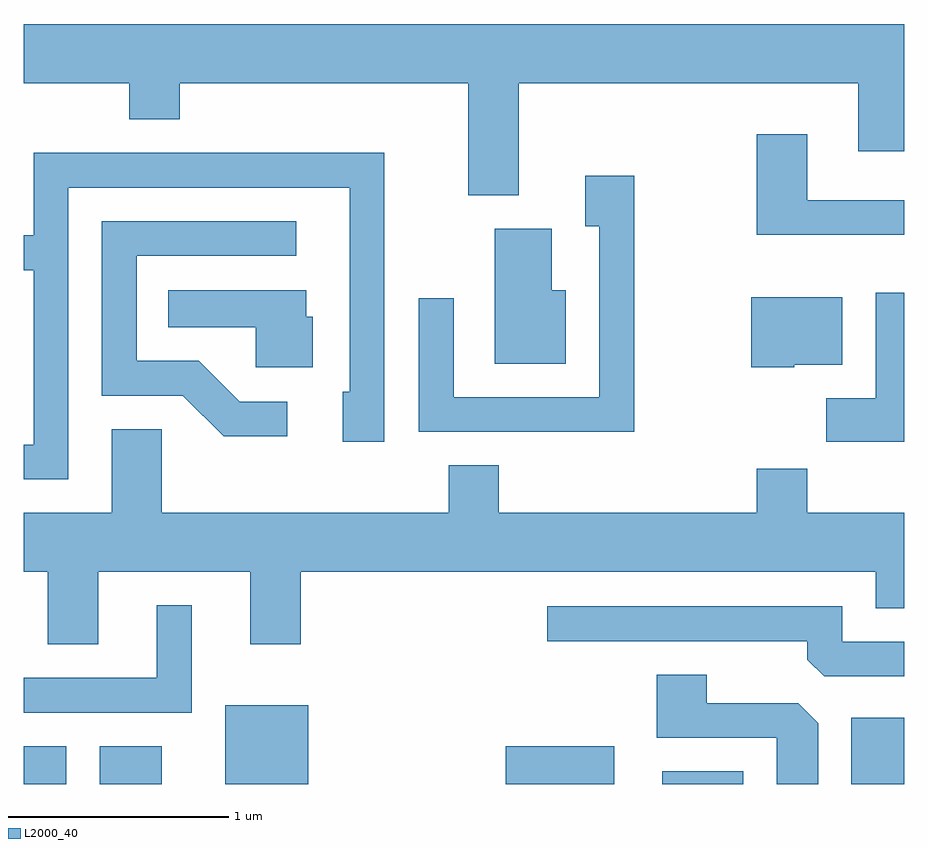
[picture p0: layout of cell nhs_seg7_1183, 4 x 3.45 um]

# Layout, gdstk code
import gdstk
lib = gdstk.Library(unit=1e-6, precision=1e-09)
def R(c, l, rs):  # rectangles x0, y0, x1, y1
    for r in rs: c.add(gdstk.rectangle(r[:2], r[2:], *l))
def P(c, l, *ps):  # polygons
    for p in ps: c.add(gdstk.Polygon(p, *l))
L2000_40 = (2000, 40)

nhs_seg7_1183 = lib.new_cell('nhs_seg7_1183')
R(nhs_seg7_1183, L2000_40, [(221.611,1702.252,221.804,1702.424), (221.956,1702.252,222.239,1702.424), (222.526,1702.252,222.904,1702.609), (223.801,1702.252,224.294,1702.424), (224.511,1702.252,224.879,1702.309), (225.371,1702.252,225.611,1702.554)])
P(nhs_seg7_1183, L2000_40, [(223.859,1705.436),(225.401,1705.436),(225.401,1705.126),(225.611,1705.126),(225.611,1705.704),(221.611,1705.704),(221.611,1705.436),(222.091,1705.436),(222.091,1705.271),(222.319,1705.271),(222.319,1705.436),(223.631,1705.436),(223.631,1704.926),(223.859,1704.926)],
  [(225.611,1704.904),(225.169,1704.904),(225.169,1705.204),(224.941,1705.204),(224.941,1704.746),(225.611,1704.746)],
  [(221.814,1704.961),(223.091,1704.961),(223.091,1704.034),(223.061,1704.034),(223.061,1703.806),(223.249,1703.806),(223.249,1705.119),(221.656,1705.119),(221.656,1704.744),(221.611,1704.744),(221.611,1704.586),(221.656,1704.586),(221.656,1703.794),(221.611,1703.794),(221.611,1703.636),(221.814,1703.636)],
  [(224.384,1705.014),(224.161,1705.014),(224.161,1704.786),(224.226,1704.786),(224.226,1704.009),(223.564,1704.009),(223.564,1704.458),(223.406,1704.458),(223.406,1703.851),(224.384,1703.851)],
  [(222.808,1703.989),(222.592,1703.989),(222.407,1704.174),(222.124,1704.174),(222.124,1704.651),(222.848,1704.651),(222.848,1704.809),(221.966,1704.809),(221.966,1704.016),(222.334,1704.016),(222.519,1703.831),(222.808,1703.831)],
  [(224.074,1704.494),(224.009,1704.494),(224.009,1704.774),(223.751,1704.774),(223.751,1704.161),(224.074,1704.161)],
  [(222.924,1704.374),(222.894,1704.374),(222.894,1704.494),(222.268,1704.494),(222.268,1704.326),(222.666,1704.326),(222.666,1704.146),(222.924,1704.146)],
  [(225.611,1704.484),(225.481,1704.484),(225.481,1704.004),(225.256,1704.004),(225.256,1703.806),(225.611,1703.806)],
  [(225.11,1704.156),(225.329,1704.156),(225.329,1704.464),(224.916,1704.464),(224.916,1704.146),(225.11,1704.146)],
  [(221.949,1703.216),(222.641,1703.216),(222.641,1702.886),(222.869,1702.886),(222.869,1703.216),(225.481,1703.216),(225.481,1703.051),(225.611,1703.051),(225.611,1703.484),(225.169,1703.484),(225.169,1703.684),(224.941,1703.684),(224.941,1703.484),(223.769,1703.484),(223.769,1703.699),(223.541,1703.699),(223.541,1703.484),(222.239,1703.484),(222.239,1703.864),(222.011,1703.864),(222.011,1703.484),(221.611,1703.484),(221.611,1703.216),(221.721,1703.216),(221.721,1702.886),(221.949,1702.886)],
  [(222.374,1703.063),(222.216,1703.063),(222.216,1702.734),(221.611,1702.734),(221.611,1702.576),(222.374,1702.576)],
  [(225.611,1702.899),(225.329,1702.899),(225.329,1703.059),(223.988,1703.059),(223.988,1702.901),(225.171,1702.901),(225.171,1702.817),(225.247,1702.741),(225.611,1702.741)],
  [(225.219,1702.529),(225.129,1702.619),(224.714,1702.619),(224.714,1702.749),(224.486,1702.749),(224.486,1702.461),(225.031,1702.461),(225.031,1702.252),(225.219,1702.252)])

lib.write_gds('nhs_seg7_1183.gds')
